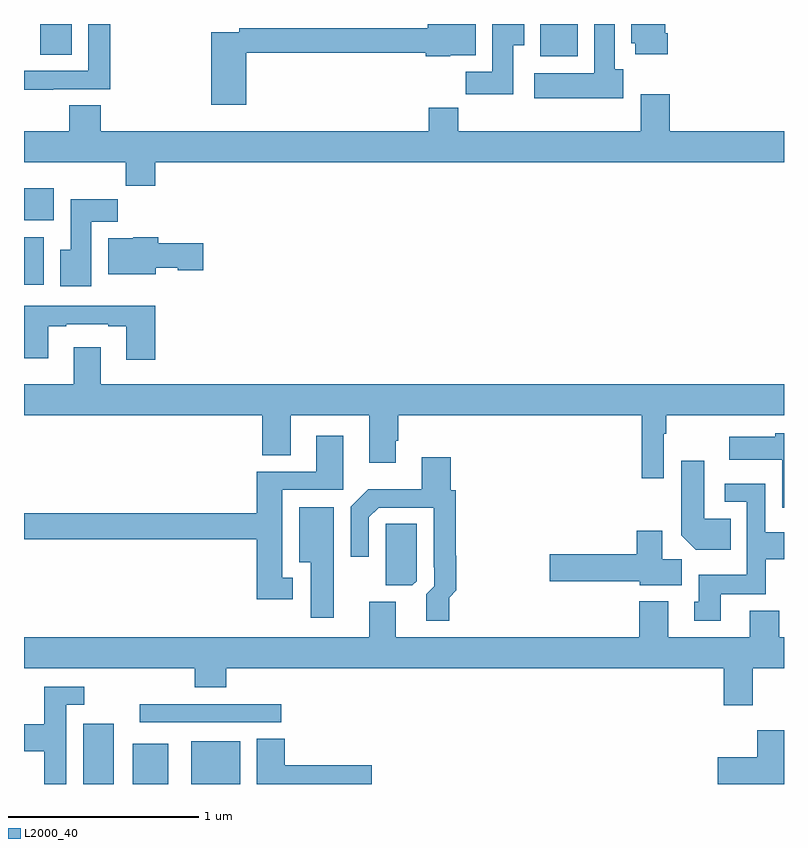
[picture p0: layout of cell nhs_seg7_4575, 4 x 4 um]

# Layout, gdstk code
import gdstk
lib = gdstk.Library(unit=1e-6, precision=1e-09)
def R(c, l, rs):  # rectangles x0, y0, x1, y1
    for r in rs: c.add(gdstk.rectangle(r[:2], r[2:], *l))
def P(c, l, *ps):  # polygons
    for p in ps: c.add(gdstk.Polygon(p, *l))
L2000_40 = (2000, 40)

nhs_seg7_4575 = lib.new_cell('nhs_seg7_4575')
R(nhs_seg7_4575, L2000_40, [(399.311,1008,399.472,1008.316), (399.572,1008,399.76,1008.211), (399.881,1008,400.138,1008.226), (399.609,1008.324,400.354,1008.42), (399,1010.628,399.103,1010.878), (399,1010.966,399.157,1011.136), (401.717,1011.83,401.914,1012), (399.086,1011.838,399.25,1012)])
P(nhs_seg7_4575, L2000_40, [(399.155,1011.657),(399.455,1011.657),(399.455,1012),(399.339,1012),(399.339,1011.753),(399,1011.753),(399,1011.655),(399.155,1011.655)],
  [(401.575,1011.889),(401.632,1011.889),(401.632,1012),(401.465,1012),(401.465,1011.748),(401.326,1011.748),(401.326,1011.63),(401.575,1011.63)],
  [(400.169,1011.849),(401.114,1011.849),(401.114,1011.83),(401.244,1011.83),(401.244,1011.836),(401.377,1011.836),(401.377,1012),(401.126,1012),(401.126,1011.977),(400.132,1011.977),(400.132,1011.957),(399.986,1011.957),(399.986,1011.576),(400.169,1011.576)],
  [(402.389,1011.952),(402.376,1011.952),(402.376,1012),(402.197,1012),(402.197,1011.9),(402.218,1011.9),(402.218,1011.84),(402.389,1011.84)],
  [(402.154,1011.762),(402.109,1011.762),(402.109,1012),(402.002,1012),(402.002,1011.742),(401.685,1011.742),(401.685,1011.608),(402.154,1011.608)],
  [(399.692,1011.272),(403,1011.272),(403,1011.436),(402.398,1011.436),(402.398,1011.631),(402.245,1011.631),(402.245,1011.436),(401.285,1011.436),(401.285,1011.56),(401.129,1011.56),(401.129,1011.436),(399.404,1011.436),(399.404,1011.572),(399.239,1011.572),(399.239,1011.436),(399,1011.436),(399,1011.272),(399.535,1011.272),(399.535,1011.148),(399.692,1011.148)],
  [(399.355,1010.96),(399.494,1010.96),(399.494,1011.078),(399.245,1011.078),(399.245,1010.812),(399.191,1010.812),(399.191,1010.619),(399.355,1010.619)],
  [(399.694,1010.717),(399.81,1010.717),(399.81,1010.705),(399.943,1010.705),(399.943,1010.847),(399.707,1010.847),(399.707,1010.878),(399.576,1010.878),(399.576,1010.872),(399.443,1010.872),(399.443,1010.684),(399.694,1010.684)],
  [(399.692,1010.518),(399.451,1010.518),(399.451,1010.517),(399,1010.517),(399,1010.24),(399.127,1010.24),(399.127,1010.409),(399.223,1010.409),(399.223,1010.421),(399.443,1010.421),(399.443,1010.409),(399.539,1010.409),(399.539,1010.232),(399.692,1010.232)],
  [(402.366,1009.844),(402.379,1009.844),(402.379,1009.94),(403,1009.94),(403,1010.104),(399.403,1010.104),(399.403,1010.299),(399.263,1010.299),(399.263,1010.104),(399,1010.104),(399,1009.94),(400.253,1009.94),(400.253,1009.729),(400.405,1009.729),(400.405,1009.94),(400.817,1009.94),(400.817,1009.692),(400.957,1009.692),(400.957,1009.807),(400.97,1009.807),(400.97,1009.94),(402.25,1009.94),(402.25,1009.608),(402.366,1009.608)],
  [(403,1009.846),(402.954,1009.846),(402.954,1009.828),(402.711,1009.828),(402.711,1009.706),(402.99,1009.706),(402.99,1009.454),(403,1009.454)],
  [(400.414,1009.085),(400.36,1009.085),(400.36,1009.548),(400.681,1009.548),(400.681,1009.834),(400.538,1009.834),(400.538,1009.644),(400.226,1009.644),(400.226,1009.424),(399,1009.424),(399,1009.288),(400.226,1009.288),(400.226,1008.972),(400.414,1008.972)],
  [(401.237,1008.981),(401.276,1009.02),(401.276,1009.202),(401.273,1009.202),(401.273,1009.545),(401.246,1009.545),(401.246,1009.72),(401.093,1009.72),(401.093,1009.552),(400.813,1009.552),(400.719,1009.458),(400.719,1009.197),(400.815,1009.197),(400.815,1009.404),(400.866,1009.455),(401.157,1009.455),(401.157,1009.141),(401.16,1009.141),(401.16,1009.041),(401.117,1008.998),(401.117,1008.858),(401.237,1008.858)],
  [(402.719,1009.396),(402.58,1009.396),(402.58,1009.702),(402.458,1009.702),(402.458,1009.31),(402.536,1009.232),(402.719,1009.232)],
  [(402.667,1008.998),(402.903,1008.998),(402.903,1009.184),(403,1009.184),(403,1009.324),(402.9,1009.324),(402.9,1009.581),(402.687,1009.581),(402.687,1009.485),(402.804,1009.485),(402.804,1009.102),(402.551,1009.102),(402.551,1008.96),(402.527,1008.96),(402.527,1008.858),(402.667,1008.858)],
  [(400.63,1009.456),(400.448,1009.456),(400.448,1009.166),(400.508,1009.166),(400.508,1008.876),(400.63,1008.876)],
  [(401.067,1009.068),(401.067,1009.37),(400.905,1009.37),(400.905,1009.259),(400.904,1009.259),(400.904,1009.045),(401.043,1009.045)],
  [(402.463,1009.184),(402.358,1009.184),(402.358,1009.333),(402.224,1009.333),(402.224,1009.208),(401.766,1009.208),(401.766,1009.066),(402.24,1009.066),(402.24,1009.046),(402.463,1009.046)],
  [(399,1008.608),(399.899,1008.608),(399.899,1008.509),(400.064,1008.509),(400.064,1008.608),(402.683,1008.608),(402.683,1008.414),(402.835,1008.414),(402.835,1008.608),(403,1008.608),(403,1008.772),(402.974,1008.772),(402.974,1008.913),(402.821,1008.913),(402.821,1008.772),(402.391,1008.772),(402.391,1008.961),(402.239,1008.961),(402.239,1008.772),(400.957,1008.772),(400.957,1008.96),(400.817,1008.96),(400.817,1008.772),(399,1008.772)],
  [(399.222,1008.417),(399.316,1008.417),(399.316,1008.513),(399.106,1008.513),(399.106,1008.315),(399,1008.315),(399,1008.173),(399.106,1008.173),(399.106,1008),(399.222,1008)],
  [(403,1008.283),(402.86,1008.283),(402.86,1008.142),(402.651,1008.142),(402.651,1008),(403,1008)],
  [(400.831,1008.098),(400.373,1008.098),(400.373,1008.239),(400.226,1008.239),(400.226,1008),(400.831,1008)])

lib.write_gds('nhs_seg7_4575.gds')
